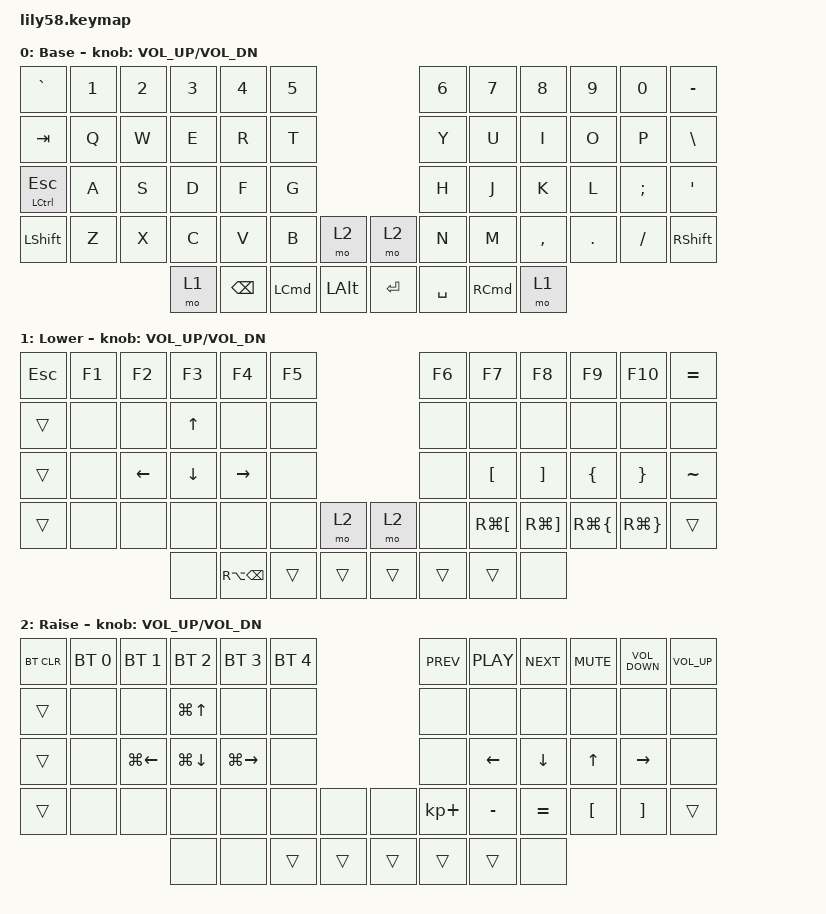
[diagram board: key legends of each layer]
/*
 * Copyright (c) 2020 The ZMK Contributors
 *
 * SPDX-License-Identifier: MIT
 */

#include <behaviors.dtsi>
#include <dt-bindings/zmk/bt.h>
#include <dt-bindings/zmk/keys.h>

/ {
    combos {
        compatible = "zmk,combos";

        both_shift_caps_word {
            bindings = <&caps_word>;
            key-positions = <36 49>;
        };
    };

    keymap {
        compatible = "zmk,keymap";

        default_layer {
            // ------------------------------------------------------------------------------------------------------------
            // |  ESC  |  1  |  2  |  3   |  4   |  5   |                   |  6   |  7    |  8    |  9   |   0   |   `   |
            // |  TAB  |  Q  |  W  |  E   |  R   |  T   |                   |  Y   |  U    |  I    |  O   |   P   |   -   |
            // |  CTRL |  A  |  S  |  D   |  F   |  G   |                   |  H   |  J    |  K    |  L   |   ;   |   '   |
            // | SHIFT |  Z  |  X  |  C   |  V   |  B   |   "["  |  |  "]"  |  N   |  M    |  ,    |  .   |   /   | SHIFT |
            //                     | ALT  | GUI  | LOWER|  SPACE |  | ENTER | RAISE| BSPC  | GUI   |

            label = "Base";
            bindings = <
&kp GRAVE                &kp N1  &kp N2  &kp N3  &kp N4         &kp N5                                       &kp N6     &kp N7             &kp N8     &kp N9   &kp N0    &kp MINUS
&kp TAB                  &kp Q   &kp W   &kp E   &kp R          &kp T                                        &kp Y      &kp U              &kp I      &kp O    &kp P     &kp BACKSLASH
&mt LEFT_CONTROL ESCAPE  &kp A   &kp S   &kp D   &kp F          &kp G                                        &kp H      &kp J              &kp K      &kp L    &kp SEMI  &kp SQT
&kp LSHFT                &kp Z   &kp X   &kp C   &kp V          &kp B             &mo 2           &mo 2      &kp N      &kp M              &kp COMMA  &kp DOT  &kp FSLH  &kp RSHFT
                                         &mo 1   &kp BACKSPACE  &kp LEFT_COMMAND  &kp LEFT_ALT    &kp ENTER  &kp SPACE  &kp RIGHT_COMMAND  &mo 1
            >;

            sensor-bindings = <&inc_dec_kp C_VOL_UP C_VOL_DN>;
        };

        lower_layer {
            // ------------------------------------------------------------------------------------------------------------
            // | BTCLR | BT1 | BT2 |  BT3 |  BT4 |  BT5 |                   |      |       |       |      |       |       |
            // |  F1   |  F2 |  F3 |  F4  |  F5  |  F6  |                   |  F7  |  F8   |  F9   |  F10 |  F11  |  F12  |
            // |   `   |  !  |  @  |  #   |  $   |  %   |                   |  ^   |  &    |  *    |  (   |   )   |   ~   |
            // |       |     |     |      |      |      |        |  |       |      |  _    |  +    |  {   |   }   |  "|"  |
            //                     |      |      |      |        |  |       |      |       |       |

            label = "Lower";
            bindings = <
&kp ESCAPE  &kp F1  &kp F2          &kp F3          &kp F4             &kp F5                    &kp F6  &kp F7                &kp F8                 &kp F9          &kp F10          &kp EQUAL
&trans      &none   &none           &kp UP_ARROW    &none              &none                     &none   &none                 &none                  &none           &none            &none
&trans      &none   &kp LEFT_ARROW  &kp DOWN_ARROW  &kp RIGHT_ARROW    &none                     &none   &kp LEFT_BRACKET      &kp RIGHT_BRACKET      &kp LEFT_BRACE  &kp RIGHT_BRACE  &kp TILDE
&trans      &none   &none           &none           &none              &none   &mo 2     &mo 2   &none   &kp RG(LEFT_BRACKET)  &kp RG(RIGHT_BRACKET)  &kp RG(LBRC)    &kp RG(RBRC)     &trans
                                    &none           &kp RA(BACKSPACE)  &trans  &trans    &trans  &trans  &trans                &none
            >;

            sensor-bindings = <&inc_dec_kp C_VOL_UP C_VOL_DN>;
        };

        raise_layer {
            // ------------------------------------------------------------------------------------------------------------
            // |       |     |     |      |      |      |                   |      |       |       |      |       |       |
            // |   `   |  1  |  2  |  3   |  4   |  5   |                   |  6   |   7   |   8   |  9   |   0   |       |
            // |   F1  |  F2 |  F3 |  F4  |  F5  |  F6  |                   |      |   <-  |   v   |  ^   |  ->   |       |
            // |   F7  |  F8 |  F9 |  F10 |  F11 |  F12 |        |  |       |  +   |   -   |   =   |  [   |   ]   |   \   |
            //                     |      |      |      |        |  |       |      |       |       |

            label = "Raise";
            bindings = <
&bt BT_CLR  &bt BT_SEL 0  &bt BT_SEL 1        &bt BT_SEL 2        &bt BT_SEL 3         &bt BT_SEL 4                    &kp C_PREV   &kp C_PLAY  &kp C_NEXT  &kp K_MUTE  &kp K_VOLUME_DOWN  &kp K_VOLUME_UP
&trans      &none         &none               &kp LG(UP_ARROW)    &none                &none                           &none        &none       &none       &none       &none              &none
&trans      &none         &kp LG(LEFT_ARROW)  &kp LG(DOWN_ARROW)  &kp LG(RIGHT_ARROW)  &none                           &none        &kp LEFT    &kp DOWN    &kp UP      &kp RIGHT          &none
&trans      &none         &none               &none               &none                &none         &none     &none   &kp KP_PLUS  &kp MINUS   &kp EQUAL   &kp LBKT    &kp RBKT           &trans
                                              &none               &none                &trans        &trans    &trans  &trans       &trans      &none
            >;

            sensor-bindings = <&inc_dec_kp C_VOL_UP C_VOL_DN>;
        };
    };
};
